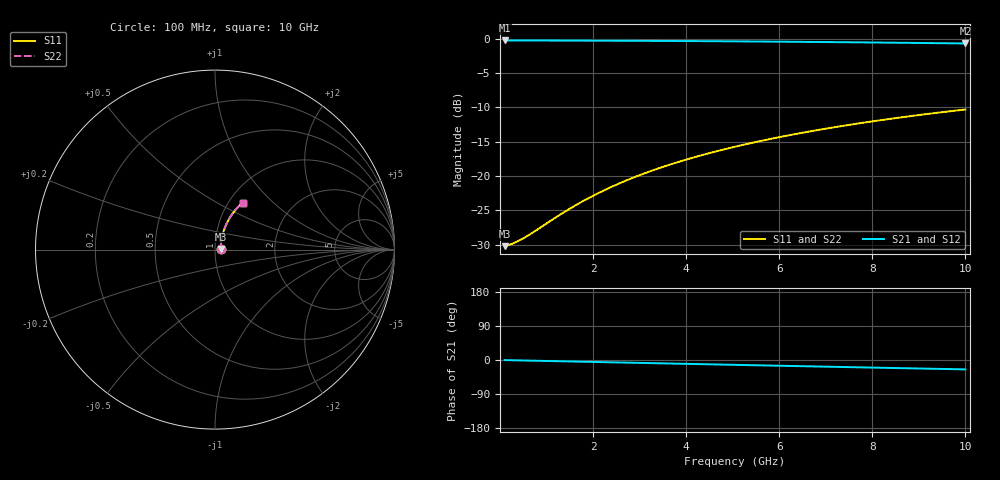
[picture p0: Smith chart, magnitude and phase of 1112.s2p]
# Hz S RI R 50.00
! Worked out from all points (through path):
!   100 points, 100 MHz to 10 GHz, reference 50 ohm
!   highest |S21| = -0.27 dB at 100 MHz (marker M1); lowest = -0.7 dB at 10 GHz (marker M2)
!   group delay of S21, straight-line fit = 6.9 ps
!   lowest |S11| = -30.2 dB at 100 MHz (marker M3), VSWR 1.06, Z = 53.2 + j0.329 ohm
!   |S11| at or under -10 dB: start of sweep to end of sweep
!   |S22| runs from -30.2 to -10.3 dB; largest |S21 - S12| = 0
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1e8  0.0307 0.00309  0.9693 -0.00432  0.9693 -0.00432  0.0307 0.00309
2e8  0.031 0.00618  0.969 -0.00864  0.969 -0.00864  0.031 0.00618
3e8  0.0312 0.00927  0.9688 -0.013  0.9688 -0.013  0.0312 0.00927
5e8  0.0316 0.0154  0.9684 -0.0216  0.9684 -0.0216  0.0316 0.0154
7e8  0.0321 0.0216  0.9678 -0.0302  0.9678 -0.0302  0.0321 0.0216
1.2e9  0.0337 0.0369  0.9662 -0.0517  0.9662 -0.0517  0.0337 0.0369
1.4e9  0.0345 0.043  0.9653 -0.0602  0.9653 -0.0602  0.0345 0.043
1.8e9  0.0365 0.0552  0.9633 -0.0773  0.9633 -0.0773  0.0365 0.0552
2.2e9  0.0388 0.0673  0.9608 -0.0943  0.9608 -0.0943  0.0388 0.0673
2.6e9  0.0415 0.0792  0.9579 -0.1112  0.9579 -0.1112  0.0415 0.0792
3e9  0.0446 0.0911  0.9546 -0.1279  0.9546 -0.1279  0.0446 0.0911
3.4e9  0.0482 0.1027  0.9509 -0.1446  0.9509 -0.1446  0.0482 0.1027
3.8e9  0.0521 0.1143  0.9467 -0.161  0.9467 -0.161  0.0521 0.1143
4.2e9  0.0564 0.1256  0.9422 -0.1773  0.9422 -0.1773  0.0564 0.1256
4.6e9  0.0611 0.1368  0.9372 -0.1934  0.9372 -0.1934  0.0611 0.1368
5.1e9  0.0675 0.1504  0.9304 -0.2132  0.9304 -0.2132  0.0675 0.1504
5.9e9  0.0789 0.1715  0.9184 -0.2443  0.9184 -0.2443  0.0789 0.1715
6.7e9  0.0916 0.1916  0.9049 -0.2743  0.9049 -0.2743  0.0916 0.1916
7.5e9  0.1055 0.2106  0.8901 -0.3032  0.8901 -0.3032  0.1055 0.2106
8.4e9  0.1224 0.2306  0.872 -0.3345  0.872 -0.3345  0.1224 0.2306
9.2e9  0.1385 0.2471  0.8548 -0.3609  0.8548 -0.3609  0.1385 0.2471
1e10  0.1555 0.2623  0.8366 -0.3861  0.8366 -0.3861  0.1555 0.2623
